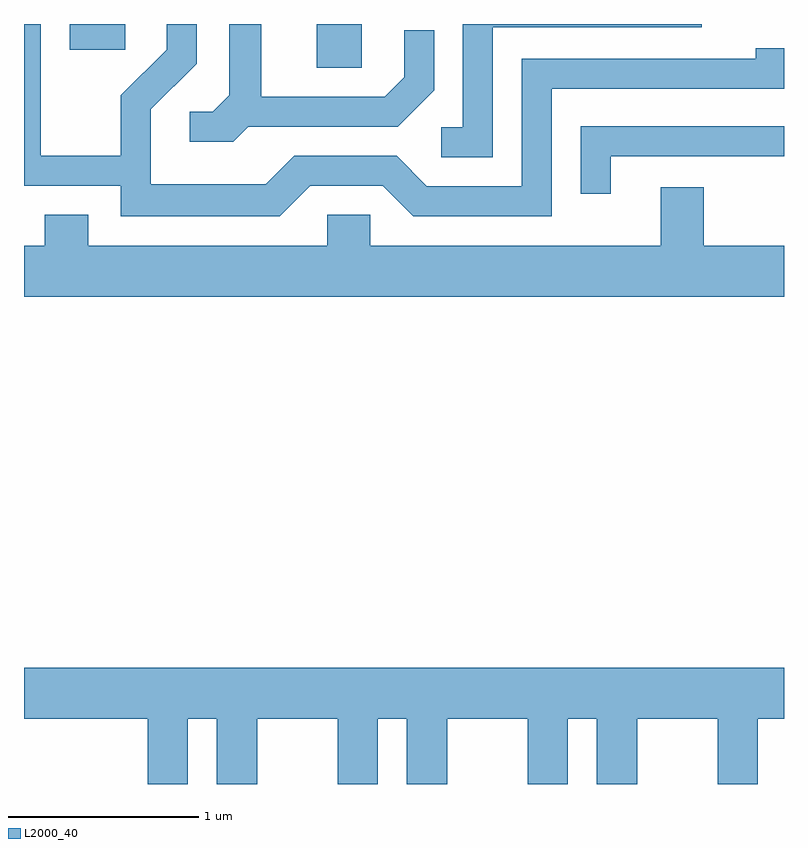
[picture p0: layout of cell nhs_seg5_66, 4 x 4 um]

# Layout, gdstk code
import gdstk
lib = gdstk.Library(unit=1e-6, precision=1e-09)
def R(c, l, rs):  # rectangles x0, y0, x1, y1
    for r in rs: c.add(gdstk.rectangle(r[:2], r[2:], *l))
def P(c, l, *ps):  # polygons
    for p in ps: c.add(gdstk.Polygon(p, *l))
L2000_40 = (2000, 40)

nhs_seg5_66 = lib.new_cell('nhs_seg5_66')
R(nhs_seg5_66, L2000_40, [(189.151,1395.841,189.389,1396.072), (187.851,1395.936,188.144,1396.072)])
P(nhs_seg5_66, L2000_40, [(190.079,1396.056),(191.178,1396.056),(191.178,1396.072),(189.921,1396.072),(189.921,1395.529),(189.808,1395.529),(189.808,1395.371),(190.079,1395.371)],
  [(188.792,1395.531),(189.577,1395.531),(189.769,1395.724),(189.769,1396.038),(189.611,1396.038),(189.611,1395.792),(189.509,1395.689),(188.859,1395.689),(188.859,1396.072),(188.691,1396.072),(188.691,1395.697),(188.604,1395.609),(188.483,1395.609),(188.483,1395.451),(188.712,1395.451)],
  [(189.117,1395.221),(189.499,1395.221),(189.659,1395.061),(190.389,1395.061),(190.389,1395.731),(191.611,1395.731),(191.611,1395.944),(191.461,1395.944),(191.461,1395.889),(190.231,1395.889),(190.231,1395.219),(189.732,1395.219),(189.572,1395.379),(189.034,1395.379),(188.884,1395.229),(188.279,1395.229),(188.279,1395.624),(188.519,1395.864),(188.519,1396.072),(188.361,1396.072),(188.361,1395.937),(188.121,1395.697),(188.121,1395.379),(187.699,1395.379),(187.699,1396.072),(187.611,1396.072),(187.611,1395.221),(188.121,1395.221),(188.121,1395.061),(188.957,1395.061)],
  [(190.699,1395.376),(191.611,1395.376),(191.611,1395.534),(190.541,1395.534),(190.541,1395.178),(190.699,1395.178)],
  [(191.611,1394.904),(191.189,1394.904),(191.189,1395.214),(190.961,1395.214),(190.961,1394.904),(189.434,1394.904),(189.434,1395.069),(189.206,1395.069),(189.206,1394.904),(187.949,1394.904),(187.949,1395.069),(187.721,1395.069),(187.721,1394.904),(187.611,1394.904),(187.611,1394.636),(191.611,1394.636)],
  [(188.474,1392.416),(188.626,1392.416),(188.626,1392.072),(188.839,1392.072),(188.839,1392.416),(189.261,1392.416),(189.261,1392.072),(189.474,1392.072),(189.474,1392.416),(189.626,1392.416),(189.626,1392.072),(189.839,1392.072),(189.839,1392.416),(190.261,1392.416),(190.261,1392.072),(190.474,1392.072),(190.474,1392.416),(190.626,1392.416),(190.626,1392.072),(190.839,1392.072),(190.839,1392.416),(191.261,1392.416),(191.261,1392.072),(191.474,1392.072),(191.474,1392.416),(191.611,1392.416),(191.611,1392.684),(187.611,1392.684),(187.611,1392.416),(188.261,1392.416),(188.261,1392.072),(188.474,1392.072)])

lib.write_gds('nhs_seg5_66.gds')
